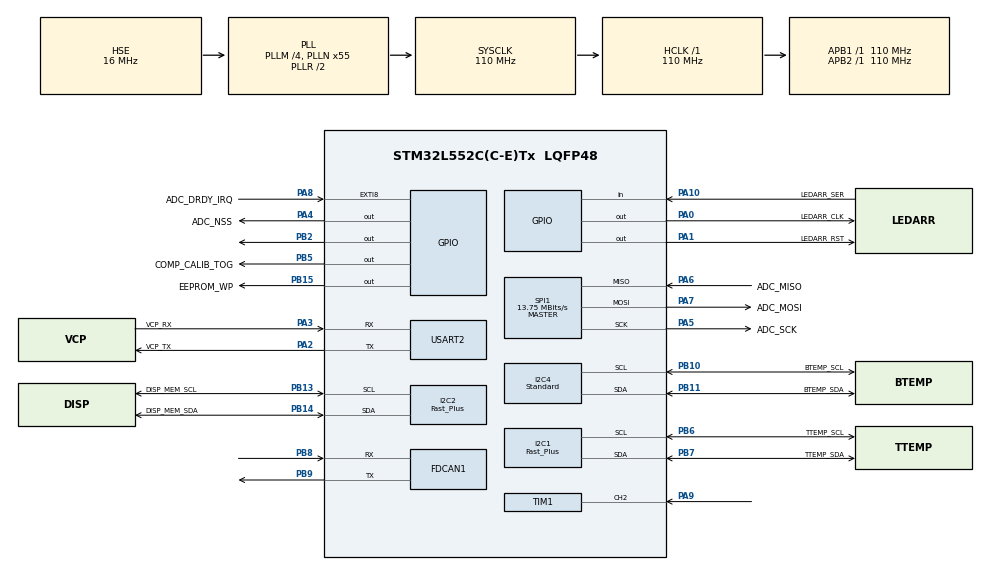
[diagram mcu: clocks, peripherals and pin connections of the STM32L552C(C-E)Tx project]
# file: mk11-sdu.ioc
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Dma.I2C1_RX.0.Channel_PRIV_NPRIV=DMA_CHANNEL_NPRIV_DISABLE
Dma.I2C1_RX.0.Direction=DMA_PERIPH_TO_MEMORY
Dma.I2C1_RX.0.EventEnable=DISABLE
Dma.I2C1_RX.0.Instance=DMA1_Channel1
Dma.I2C1_RX.0.MemDataAlignment=DMA_MDATAALIGN_BYTE
Dma.I2C1_RX.0.MemInc=DMA_MINC_ENABLE
Dma.I2C1_RX.0.Mode=DMA_NORMAL
Dma.I2C1_RX.0.PeriphDataAlignment=DMA_PDATAALIGN_BYTE
Dma.I2C1_RX.0.PeriphInc=DMA_PINC_DISABLE
Dma.I2C1_RX.0.Polarity=HAL_DMAMUX_REQ_GEN_RISING
Dma.I2C1_RX.0.Priority=DMA_PRIORITY_LOW
Dma.I2C1_RX.0.RequestNumber=1
Dma.I2C1_RX.0.SignalID=NONE
Dma.I2C1_RX.0.SyncEnable=DISABLE
Dma.I2C1_RX.0.SyncPolarity=HAL_DMAMUX_SYNC_NO_EVENT
Dma.I2C1_RX.0.SyncRequestNumber=1
Dma.I2C1_RX.0.SyncSignalID=NONE
Dma.I2C1_TX.1.Channel_PRIV_NPRIV=DMA_CHANNEL_NPRIV_DISABLE
Dma.I2C1_TX.1.Direction=DMA_MEMORY_TO_PERIPH
Dma.I2C1_TX.1.EventEnable=DISABLE
Dma.I2C1_TX.1.Instance=DMA1_Channel2
Dma.I2C1_TX.1.MemDataAlignment=DMA_MDATAALIGN_BYTE
Dma.I2C1_TX.1.MemInc=DMA_MINC_ENABLE
Dma.I2C1_TX.1.Mode=DMA_NORMAL
Dma.I2C1_TX.1.PeriphDataAlignment=DMA_PDATAALIGN_BYTE
Dma.I2C1_TX.1.PeriphInc=DMA_PINC_DISABLE
Dma.I2C1_TX.1.Polarity=HAL_DMAMUX_REQ_GEN_RISING
Dma.I2C1_TX.1.Priority=DMA_PRIORITY_LOW
Dma.I2C1_TX.1.RequestNumber=1
Dma.I2C1_TX.1.SignalID=NONE
Dma.I2C1_TX.1.SyncEnable=DISABLE
Dma.I2C1_TX.1.SyncPolarity=HAL_DMAMUX_SYNC_NO_EVENT
Dma.I2C1_TX.1.SyncRequestNumber=1
Dma.I2C1_TX.1.SyncSignalID=NONE
Dma.I2C2_RX.2.Channel_PRIV_NPRIV=DMA_CHANNEL_NPRIV_DISABLE
Dma.I2C2_RX.2.Direction=DMA_PERIPH_TO_MEMORY
Dma.I2C2_RX.2.EventEnable=DISABLE
Dma.I2C2_RX.2.Instance=DMA1_Channel3
Dma.I2C2_RX.2.MemDataAlignment=DMA_MDATAALIGN_BYTE
Dma.I2C2_RX.2.MemInc=DMA_MINC_ENABLE
Dma.I2C2_RX.2.Mode=DMA_NORMAL
Dma.I2C2_RX.2.PeriphDataAlignment=DMA_PDATAALIGN_BYTE
Dma.I2C2_RX.2.PeriphInc=DMA_PINC_DISABLE
Dma.I2C2_RX.2.Polarity=HAL_DMAMUX_REQ_GEN_RISING
Dma.I2C2_RX.2.Priority=DMA_PRIORITY_LOW
Dma.I2C2_RX.2.RequestNumber=1
Dma.I2C2_RX.2.SignalID=NONE
Dma.I2C2_RX.2.SyncEnable=DISABLE
Dma.I2C2_RX.2.SyncPolarity=HAL_DMAMUX_SYNC_NO_EVENT
Dma.I2C2_RX.2.SyncRequestNumber=1
Dma.I2C2_RX.2.SyncSignalID=NONE
Dma.I2C2_TX.3.Channel_PRIV_NPRIV=DMA_CHANNEL_NPRIV_DISABLE
Dma.I2C2_TX.3.Direction=DMA_MEMORY_TO_PERIPH
Dma.I2C2_TX.3.EventEnable=DISABLE
Dma.I2C2_TX.3.Instance=DMA1_Channel4
Dma.I2C2_TX.3.MemDataAlignment=DMA_MDATAALIGN_BYTE
Dma.I2C2_TX.3.MemInc=DMA_MINC_ENABLE
Dma.I2C2_TX.3.Mode=DMA_NORMAL
Dma.I2C2_TX.3.PeriphDataAlignment=DMA_PDATAALIGN_BYTE
Dma.I2C2_TX.3.PeriphInc=DMA_PINC_DISABLE
Dma.I2C2_TX.3.Polarity=HAL_DMAMUX_REQ_GEN_RISING
Dma.I2C2_TX.3.Priority=DMA_PRIORITY_LOW
Dma.I2C2_TX.3.RequestNumber=1
Dma.I2C2_TX.3.SignalID=NONE
Dma.I2C2_TX.3.SyncEnable=DISABLE
Dma.I2C2_TX.3.SyncPolarity=HAL_DMAMUX_SYNC_NO_EVENT
Dma.I2C2_TX.3.SyncRequestNumber=1
Dma.I2C2_TX.3.SyncSignalID=NONE
Dma.Request0=I2C1_RX
Dma.Request1=I2C1_TX
Dma.Request2=I2C2_RX
Dma.Request3=I2C2_TX
Dma.Request4=SPI1_RX
Dma.Request5=SPI1_TX
Dma.SPI1_RX.4.Channel_PRIV_NPRIV=DMA_CHANNEL_NPRIV_DISABLE
Dma.SPI1_RX.4.Direction=DMA_PERIPH_TO_MEMORY
Dma.SPI1_RX.4.EventEnable=DISABLE
Dma.SPI1_RX.4.Instance=DMA1_Channel7
Dma.SPI1_RX.4.MemDataAlignment=DMA_MDATAALIGN_BYTE
Dma.SPI1_RX.4.MemInc=DMA_MINC_ENABLE
Dma.SPI1_RX.4.Mode=DMA_NORMAL
Dma.SPI1_RX.4.PeriphDataAlignment=DMA_PDATAALIGN_BYTE
Dma.SPI1_RX.4.PeriphInc=DMA_PINC_DISABLE
Dma.SPI1_RX.4.Polarity=HAL_DMAMUX_REQ_GEN_RISING
Dma.SPI1_RX.4.Priority=DMA_PRIORITY_LOW
Dma.SPI1_RX.4.RequestNumber=1
Dma.SPI1_RX.4.SignalID=NONE
Dma.SPI1_RX.4.SyncEnable=DISABLE
Dma.SPI1_RX.4.SyncPolarity=HAL_DMAMUX_SYNC_NO_EVENT
Dma.SPI1_RX.4.SyncRequestNumber=1
Dma.SPI1_RX.4.SyncSignalID=NONE
Dma.SPI1_TX.5.Channel_PRIV_NPRIV=DMA_CHANNEL_NPRIV_DISABLE
Dma.SPI1_TX.5.Direction=DMA_MEMORY_TO_PERIPH
Dma.SPI1_TX.5.EventEnable=DISABLE
Dma.SPI1_TX.5.Instance=DMA1_Channel5
Dma.SPI1_TX.5.MemDataAlignment=DMA_MDATAALIGN_BYTE
Dma.SPI1_TX.5.MemInc=DMA_MINC_ENABLE
Dma.SPI1_TX.5.Mode=DMA_NORMAL
Dma.SPI1_TX.5.PeriphDataAlignment=DMA_PDATAALIGN_BYTE
Dma.SPI1_TX.5.PeriphInc=DMA_PINC_DISABLE
Dma.SPI1_TX.5.Polarity=HAL_DMAMUX_REQ_GEN_RISING
Dma.SPI1_TX.5.Priority=DMA_PRIORITY_LOW
Dma.SPI1_TX.5.RequestNumber=1
Dma.SPI1_TX.5.SignalID=NONE
Dma.SPI1_TX.5.SyncEnable=DISABLE
Dma.SPI1_TX.5.SyncPolarity=HAL_DMAMUX_SYNC_NO_EVENT
Dma.SPI1_TX.5.SyncRequestNumber=1
Dma.SPI1_TX.5.SyncSignalID=NONE
FDCAN1.AutoRetransmission=ENABLE
FDCAN1.CalculateBaudRateNominal=999999
FDCAN1.CalculateTimeBitNominal=1000
FDCAN1.CalculateTimeQuantumNominal=45.45454545454546
FDCAN1.DataPrescaler=2
FDCAN1.DataSyncJumpWidth=2
FDCAN1.DataTimeSeg1=8
FDCAN1.DataTimeSeg2=2
FDCAN1.FrameFormat=FDCAN_FRAME_FD_BRS
FDCAN1.Mode=FDCAN_MODE_NORMAL
FDCAN1.NominalPrescaler=5
FDCAN1.NominalSyncJumpWidth=4
FDCAN1.NominalTimeSeg1=17
FDCAN1.NominalTimeSeg2=4
FDCAN1.StdFiltersNbr=1
I2C1.I2C_Speed_Mode=I2C_Fast_Plus
I2C1.Timing=0x10820B18
I2C2.I2C_Fall_Time=10
I2C2.I2C_Rise_Time=10
I2C2.I2C_Speed_Mode=I2C_Fast_Plus
I2C2.Timing=0x00601744
I2C4.Analog_Filter=I2C_ANALOGFILTER_DISABLE
I2C4.I2C_Speed_Mode=I2C_Standard
I2C4.Speed=100
I2C4.Timing=0x20C191D3
Mcu.Family=STM32L5
Mcu.Name=STM32L552C(C-E)Tx
Mcu.Package=LQFP48
NVIC.DMA1_Channel1_IRQn=true\:0\:0\:true\:false\:true\:false\:true\:true
NVIC.DMA1_Channel2_IRQn=true\:0\:0\:true\:false\:true\:false\:true\:true
NVIC.DMA1_Channel3_IRQn=true\:0\:0\:true\:false\:true\:false\:true\:true
NVIC.DMA1_Channel4_IRQn=true\:0\:0\:true\:false\:true\:false\:true\:true
NVIC.DMA1_Channel5_IRQn=true\:0\:0\:true\:false\:true\:false\:true\:true
NVIC.DMA1_Channel7_IRQn=true\:0\:0\:true\:false\:true\:false\:true\:true
NVIC.EXTI8_IRQn=true\:0\:0\:false\:false\:true\:true\:true\:true
NVIC.FDCAN1_IT0_IRQn=true\:0\:0\:true\:false\:true\:true\:true\:true
NVIC.FDCAN1_IT1_IRQn=true\:0\:0\:true\:false\:true\:true\:true\:true
NVIC.I2C1_ER_IRQn=true\:0\:0\:true\:false\:true\:true\:true\:true
NVIC.I2C1_EV_IRQn=true\:0\:0\:true\:false\:true\:true\:true\:true
NVIC.I2C2_ER_IRQn=true\:0\:0\:true\:false\:true\:true\:true\:true
NVIC.I2C2_EV_IRQn=true\:0\:0\:true\:false\:true\:true\:true\:true
NVIC.PriorityGroup=NVIC_PRIORITYGROUP_3
NVIC.SPI1_IRQn=true\:0\:0\:true\:false\:true\:true\:true\:true
NVIC.TIM1_CC_IRQn=true\:0\:0\:false\:false\:true\:true\:true\:true
NVIC.USART2_IRQn=true\:0\:0\:false\:false\:true\:false\:true\:true
PA0.GPIO_Label=LEDARR_CLK
PA0.Signal=GPIO_Output
PA1.GPIO_Label=LEDARR_RST
PA1.Signal=GPIO_Output
PA10.GPIO_Label=LEDARR_SER
PA10.Signal=GPIO_Input
PA13\ (JTMS/SWDIO).Mode=JTAG_4_pins
PA13\ (JTMS/SWDIO).Signal=DEBUG_JTMS-SWDIO
PA14\ (JTCK/SWCLK).Mode=JTAG_4_pins
PA14\ (JTCK/SWCLK).Signal=DEBUG_JTCK-SWCLK
PA15\ (JTDI).Mode=JTAG_4_pins
PA15\ (JTDI).Signal=DEBUG_JTDI
PA2.GPIO_Label=VCP_TX
PA2.Mode=Asynchronous
PA2.Signal=USART2_TX
PA3.GPIO_Label=VCP_RX
PA3.Mode=Asynchronous
PA3.Signal=USART2_RX
PA4.GPIO_Label=ADC_NSS
PA4.Signal=GPIO_Output
PA5.GPIO_Label=ADC_SCK
PA5.Mode=Full_Duplex_Master
PA5.Signal=SPI1_SCK
PA6.GPIO_Label=ADC_MISO
PA6.Mode=Full_Duplex_Master
PA6.Signal=SPI1_MISO
PA7.GPIO_Label=ADC_MOSI
PA7.Mode=Full_Duplex_Master
PA7.Signal=SPI1_MOSI
PA8.GPIO_Label=ADC_DRDY_IRQ
PA8.GPIO_ModeDefaultEXTI=GPIO_MODE_IT_FALLING
PA8.GPIO_PuPd=GPIO_PULLUP
PA8.Signal=GPXTI8
PA9.GPIO_PuPd=GPIO_PULLDOWN
PA9.Signal=S_TIM1_CH2
PB10.GPIO_Label=BTEMP_SCL
PB10.GPIO_Pu=GPIO_NOPULL
PB10.GPIO_Speed=GPIO_SPEED_FREQ_VERY_HIGH
PB10.Mode=I2C
PB10.Signal=I2C4_SCL
PB11.GPIO_Label=BTEMP_SDA
PB11.GPIO_Pu=GPIO_NOPULL
PB11.GPIO_Speed=GPIO_SPEED_FREQ_VERY_HIGH
PB11.Mode=I2C
PB11.Signal=I2C4_SDA
PB13.GPIO_Label=DISP_MEM_SCL
PB13.GPIO_Pu=GPIO_PULLUP
PB13.GPIO_Speed=GPIO_SPEED_FREQ_VERY_HIGH
PB13.Mode=I2C
PB13.Signal=I2C2_SCL
PB14.GPIO_Label=DISP_MEM_SDA
PB14.GPIO_Pu=GPIO_PULLUP
PB14.GPIO_Speed=GPIO_SPEED_FREQ_VERY_HIGH
PB14.Mode=I2C
PB14.Signal=I2C2_SDA
PB15.GPIO_Label=EEPROM_WP
PB15.Signal=GPIO_Output
PB2.GPIO_PuPd=GPIO_PULLDOWN
PB2.Signal=GPIO_Output
PB3\ (JTDO/TRACESWO).Mode=JTAG_4_pins
PB3\ (JTDO/TRACESWO).Signal=DEBUG_JTDO-SWO
PB5.GPIO_Label=COMP_CALIB_TOG
PB5.GPIO_PuPd=GPIO_PULLUP
PB5.PinState=GPIO_PIN_SET
PB5.Signal=GPIO_Output
PB6.GPIO_Label=TTEMP_SCL
PB6.GPIO_Pu=GPIO_PULLUP
PB6.GPIO_Speed=GPIO_SPEED_FREQ_VERY_HIGH
PB6.Mode=I2C
PB6.Signal=I2C1_SCL
PB7.GPIO_Label=TTEMP_SDA
PB7.GPIO_Pu=GPIO_PULLUP
PB7.GPIO_Speed=GPIO_SPEED_FREQ_VERY_HIGH
PB7.Mode=I2C
PB7.Signal=I2C1_SDA
PB8.GPIO_Speed=GPIO_SPEED_FREQ_VERY_HIGH
PB8.Mode=FDCAN_Activate
PB8.Signal=FDCAN1_RX
PB9.GPIO_Speed=GPIO_SPEED_FREQ_VERY_HIGH
PB9.Mode=FDCAN_Activate
PB9.Signal=FDCAN1_TX
PH0-OSC_IN\ (PH0).Mode=HSE-External-Oscillator
PH0-OSC_IN\ (PH0).Signal=RCC_OSC_IN
PH1-OSC_OUT\ (PH1).Mode=HSE-External-Oscillator
PH1-OSC_OUT\ (PH1).Signal=RCC_OSC_OUT
ProjectManager.HeapSize=0x200
ProjectManager.StackSize=0x400
ProjectManager.TargetToolchain=STM32CubeIDE
RCC.AHBFreq_Value=110000000
RCC.APB1Freq_Value=110000000
RCC.APB1TimFreq_Value=110000000
RCC.APB2Freq_Value=110000000
RCC.APB2TimFreq_Value=110000000
RCC.CortexFreq_Value=110000000
RCC.HCLKFreq_Value=110000000
RCC.HSE_VALUE=16000000
RCC.HSI48_VALUE=48000000
RCC.HSI_VALUE=16000000
RCC.LSE_VALUE=32768
RCC.MSI_VALUE=4000000
RCC.PLLM=4
RCC.PLLN=55
RCC.PLLSourceVirtual=RCC_PLLSOURCE_HSE
RCC.SYSCLKFreq_VALUE=110000000
RCC.SYSCLKSource=RCC_SYSCLKSOURCE_PLLCLK
RCC.VCOOutputFreq_Value=220000000
SH.S_TIM1_CH2.0=TIM1_CH2,Input_Capture2_from_TI2
SPI1.BaudRatePrescaler=SPI_BAUDRATEPRESCALER_8
SPI1.CalculateBaudRate=13.75 MBits/s
SPI1.DataSize=SPI_DATASIZE_8BIT
SPI1.Direction=SPI_DIRECTION_2LINES
SPI1.Mode=SPI_MODE_MASTER
SPI1.VirtualType=VM_MASTER
TIM1.Channel-Input_Capture2_from_TI2=TIM_CHANNEL_2
TIM1.ICFilter_CH2=8
TIM1.Prescaler=1099
TIM2.Prescaler=109
USART2.VirtualMode-Asynchronous=VM_ASYNC
VP_ICACHE_VS_ICACHE.Mode=DefaultMode
VP_PWR_VS_DBSignals.Mode=DisableDeadBatterySignals
VP_PWR_VS_SECSignals.Mode=Security/Privilege
VP_TIM1_VS_ClockSourceINT.Mode=Internal
VP_TIM2_VS_ClockSourceINT.Mode=Internal
board=custom

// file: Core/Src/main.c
/* USER CODE BEGIN Header */
/**
 ******************************************************************************
 * @file           : main.c
 * @brief          : Main program body
 ******************************************************************************
 * @attention
 *
 * Copyright (c) 2026 STMicroelectronics.
 * All rights reserved.
 *
 * This software is licensed under terms that can be found in the LICENSE file
 * in the root directory of this software component.
 * If no LICENSE file comes with this software, it is provided AS-IS.
 *
 ******************************************************************************
 */

// board identity — set differently (0, 1, ...) per physical SDU before flashing
// the bus. CAN IDs are derived as CAN_FAST_BASE_ID + SDU_BOARD_ID etc. The
// MDU/RX filter range below must cover every assigned board ID.
/* USER CODE END Header */
#include "main.h"
#include "dma.h"
#include "fdcan.h"
#include "i2c.h"
#include "icache.h"
#include "spi.h"
#include "tim.h"
#include "usart.h"
#include "gpio.h"

/* USER CODE BEGIN Includes */
#include "MLX90640_API.h"
#include "MLX90640_I2C_Driver.h"
#include "mcp3464.h"
#include "mlx90614.h"
#include "sh1106.h"
#include <stdio.h>
#include <string.h>

/* USER CODE END Includes */

/* USER CODE BEGIN PV */
// SDU Board Configuration: Change this to SDU_BOARD_FL, SDU_BOARD_FR, SDU_BOARD_RL, or SDU_BOARD_RR before flashing!
uint8_t SDU_BOARD_ID = SDU_BOARD_FL;

SDU_State_t car_state = {0};
/* USER CODE END PV */

void SystemClock_Config(void);

/* USER CODE BEGIN 0 */

/* This tells the compiler to route printf output to the UART */
int _write(int file, char *ptr, int len) {
  HAL_UART_Transmit(&huart2, (uint8_t *)ptr, len, HAL_MAX_DELAY);
  return len;
}

/* USER CODE END 0 */

int main(void)
{

  /* MCU Configuration--------------------------------------------------------*/

  /* Reset of all peripherals, Initializes the Flash interface and the Systick. */
  HAL_Init();

  /* Configure the system clock */
  SystemClock_Config();

  /* Initialize all configured peripherals */
  MX_GPIO_Init();
  MX_DMA_Init();
  MX_FDCAN1_Init();
  MX_I2C1_Init();
  MX_I2C2_Init();
  MX_I2C4_Init();
  MX_ICACHE_Init();
  MX_SPI1_Init();
  MX_USART2_UART_Init();
  MX_TIM1_Init();
  MX_TIM2_Init();
  /* USER CODE BEGIN 2 */
  CAN_Messaging_Init();
  Telemetry_InitAllSensors();
  UI_InitDashboard();

  /* Configure filters while the controller is still in init/config mode. */
  hfdcan1.Init.NominalSyncJumpWidth = 4;
  if (HAL_FDCAN_Init(&hfdcan1) != HAL_OK) {
    Error_Handler();
  }

  FDCAN_FilterTypeDef sFilterConfig;
  sFilterConfig.IdType = FDCAN_STANDARD_ID;
  sFilterConfig.FilterIndex = 0;
  sFilterConfig.FilterType = FDCAN_FILTER_RANGE;
  sFilterConfig.FilterConfig = FDCAN_FILTER_TO_RXFIFO0;
  sFilterConfig.FilterID1 = CAN_RX_FILTER_ID1;
  sFilterConfig.FilterID2 = CAN_RX_FILTER_ID2;

  if (HAL_FDCAN_ConfigFilter(&hfdcan1, &sFilterConfig) != HAL_OK) {
    Error_Handler();
  }

  if (HAL_FDCAN_Start(&hfdcan1) != HAL_OK) {
    Error_Handler();
  }

  if (HAL_FDCAN_ActivateNotification(&hfdcan1,
                                     FDCAN_IT_RX_FIFO0_NEW_MESSAGE |
                                         FDCAN_IT_RX_FIFO0_FULL |
                                         FDCAN_IT_RX_FIFO0_MESSAGE_LOST,
                                     0) != HAL_OK) {
    Error_Handler();
  }
  /* USER CODE END 2 */

  /* Infinite loop */
  /* USER CODE BEGIN WHILE */

  while (1) {
    uint32_t loop_start = __HAL_TIM_GET_COUNTER(&htim2);

    car_state.timestamp_ms = HAL_GetTick();

    // Call SDU controllers - CAN transmissions first to eliminate scheduling
    // jitter!
    CAN_Messaging_ProcessTransmissions(&car_state);
    Telemetry_ProcessSensors(&car_state);
    UI_UpdateRenderCycles(&car_state);

    // Diagnostics calculation
    uint32_t loop_time = __HAL_TIM_GET_COUNTER(&htim2) - loop_start;
    if (loop_time > LAST_LOOP_TIME_MIN_VALID) {
      car_state.diagnostics
          .lastLoopTime[car_state.diagnostics.lastLoopTimeIndex] = loop_time;
      car_state.diagnostics.lastLoopTimeIndex =
          (car_state.diagnostics.lastLoopTimeIndex + 1) %
          LAST_LOOP_TIME_HISTORY_LEN;
    }
    car_state.diagnostics.loop_duration_us = loop_time;
    /* USER CODE END WHILE */

  }
}

void SystemClock_Config(void)
{
  RCC_OscInitTypeDef RCC_OscInitStruct = {0};
  RCC_ClkInitTypeDef RCC_ClkInitStruct = {0};

  /** Configure the main internal regulator output voltage
  */
  if (HAL_PWREx_ControlVoltageScaling(PWR_REGULATOR_VOLTAGE_SCALE0) != HAL_OK)
  {
    Error_Handler();
  }

  /** Initializes the RCC Oscillators according to the specified parameters
  * in the RCC_OscInitTypeDef structure.
  */
  RCC_OscInitStruct.OscillatorType = RCC_OSCILLATORTYPE_HSE;
  RCC_OscInitStruct.HSEState = RCC_HSE_ON;
  RCC_OscInitStruct.PLL.PLLState = RCC_PLL_ON;
  RCC_OscInitStruct.PLL.PLLSource = RCC_PLLSOURCE_HSE;
  RCC_OscInitStruct.PLL.PLLM = 4;
  RCC_OscInitStruct.PLL.PLLN = 55;
  RCC_OscInitStruct.PLL.PLLP = RCC_PLLP_DIV7;
  RCC_OscInitStruct.PLL.PLLQ = RCC_PLLQ_DIV2;
  RCC_OscInitStruct.PLL.PLLR = RCC_PLLR_DIV2;
  if (HAL_RCC_OscConfig(&RCC_OscInitStruct) != HAL_OK)
  {
    Error_Handler();
  }

  /** Initializes the CPU, AHB and APB buses clocks
  */
  RCC_ClkInitStruct.ClockType = RCC_CLOCKTYPE_HCLK|RCC_CLOCKTYPE_SYSCLK
                              |RCC_CLOCKTYPE_PCLK1|RCC_CLOCKTYPE_PCLK2;
  RCC_ClkInitStruct.SYSCLKSource = RCC_SYSCLKSOURCE_PLLCLK;
  RCC_ClkInitStruct.AHBCLKDivider = RCC_SYSCLK_DIV1;
  RCC_ClkInitStruct.APB1CLKDivider = RCC_HCLK_DIV1;
  RCC_ClkInitStruct.APB2CLKDivider = RCC_HCLK_DIV1;

  if (HAL_RCC_ClockConfig(&RCC_ClkInitStruct, FLASH_LATENCY_5) != HAL_OK)
  {
    Error_Handler();
  }
}

/* USER CODE BEGIN 4 */
void HAL_I2C_MemRxCpltCallback(I2C_HandleTypeDef *hi2c) {
  Telemetry_HandleI2C_MemRxCplt(hi2c);
}

void HAL_I2C_MasterTxCpltCallback(I2C_HandleTypeDef *hi2c) {
  UI_HandleI2C_MasterTxCplt(hi2c);
}

void HAL_GPIO_EXTI_Falling_Callback(uint16_t GPIO_Pin) {
  Telemetry_HandleGPIO_EXTI(GPIO_Pin);
}

void HAL_SPI_TxRxCpltCallback(SPI_HandleTypeDef *hspi) {
  Telemetry_HandleSPI_TxRxCplt(hspi);
}

void HAL_SPI_ErrorCallback(SPI_HandleTypeDef *hspi) {
  Telemetry_HandleSPI_Error(hspi);
}

void HAL_TIM_IC_CaptureCallback(TIM_HandleTypeDef *htim) {
  Telemetry_HandleTIM_IC_Capture(htim);
}

void HAL_FDCAN_RxFifo0Callback(FDCAN_HandleTypeDef *hfdcan,
                               uint32_t RxFifo0ITs) {
  CAN_Messaging_HandleRxFifoCallback(hfdcan, RxFifo0ITs);
}
/* USER CODE END 4 */

void Error_Handler(void)
{
  __disable_irq();
  while (1) {
  }
}
#ifdef USE_FULL_ASSERT
/**
  * @brief  Reports the name of the source file and the source line number
  *         where the assert_param error has occurred.
  * @param  file: pointer to the source file name
  * @param  line: assert_param error line source number
  * @retval None
  */
void assert_failed(uint8_t *file, uint32_t line)
{
  /* USER CODE BEGIN 6 */
  /* User can add his own implementation to report the file name and line
     number, ex: printf("Wrong parameters value: file %s on line %d\r\n", file,
     line) */
  /* USER CODE END 6 */
}
#endif /* USE_FULL_ASSERT */
